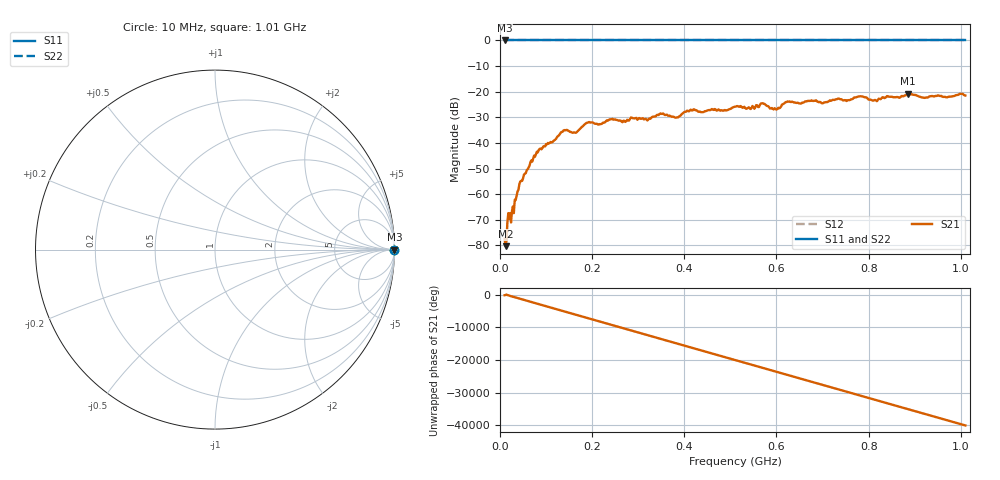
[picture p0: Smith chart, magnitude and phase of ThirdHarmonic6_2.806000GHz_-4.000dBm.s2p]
! 8/17/2025 7:20:22 AM
! C:\ANRITSUVNA\TEMP\TEMP.S2P
! CHANNEL.1
! TR.MEASUREMENT
! RAW.DATA
! RF.CORRECTION.OFF
! AVERAGING.OFF
! IF.BANDWIDTH: 5KHZ
! SWEEPTYPE:  FREQ.SWEEP(Linear)
! Reference Plane Port Info
! PORT:  PORT1  PORT2
! DISTANCE:  0  m  0  m
! TIME:  0  s  0  s
! PHASE.OFFSET:  0  deg.  0  deg.
! LOSS:  0  dB  0  dB
! REF.LOSS:  0  dB  0  dB
! REF.FREQ:  0  Hz  0  Hz
! Power Info
! POWER:  -20  dBm  -20  dBm
! EFF.POWER:  -20  dBm  -20  dBm
! SOURCE.ATTEN:  0  dB  0  dB
! TEST.ATTEN:  0  dB  0  dB
# GHZ S RI R 50.0
! FREQ.GHZ  S11RE  S11IM  S21RE  S21IM  S12RE  S12IM  S22RE  S22IM
!; PortSelection: Port_12
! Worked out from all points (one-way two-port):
!   501 points, 10 MHz to 1.01 GHz, reference 50 ohm
!   highest |S21| = -20.72 dB at 886 MHz (marker M1); lowest = -80.3 dB at 12 MHz (marker M2)
!   lowest |S11| = 0.0 dB at 10 MHz (marker M3)
!   |S11| at or under -10 dB: nowhere
!   |S22| runs from 0.0 to 0.0 dB; largest |S21 - S12| = 1.1
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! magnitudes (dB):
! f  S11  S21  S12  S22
! 10 MHz  0.0  -77.3  0.0  0.0
! 12 MHz  0.0  -80.3  0.0  0.0
! 20 MHz  0.0  -69.6  0.0  0.0
! 28 MHz  0.0  -64.7  0.0  0.0
! 42 MHz  0.0  -56.1  0.0  0.0
! 76 MHz  0.0  -45.4  0.0  0.0
! 136 MHz  0.0  -35.6  0.0  0.0
! 162 MHz  0.0  -35.9  0.0  0.0
! 178 MHz  0.0  -33.7  0.0  0.0
! 192 MHz  0.0  -31.9  0.0  0.0
! 322 MHz  0.0  -30.8  0.0  0.0
! 344 MHz  0.0  -29.1  0.0  0.0
! 384 MHz  0.0  -30.0  0.0  0.0
! 418 MHz  0.0  -27.3  0.0  0.0
! 510 MHz  0.0  -25.9  0.0  0.0
! 570 MHz  0.0  -24.5  0.0  0.0
! 598 MHz  0.0  -26.8  0.0  0.0
! 624 MHz  0.0  -23.8  0.0  0.0
! 678 MHz  0.0  -23.5  0.0  0.0
! 844 MHz  0.0  -22.0  0.0  0.0
! 886 MHz  0.0  -20.7  0.0  0.0
! 1.01 GHz  0.0  -21.5  0.0  0.0
